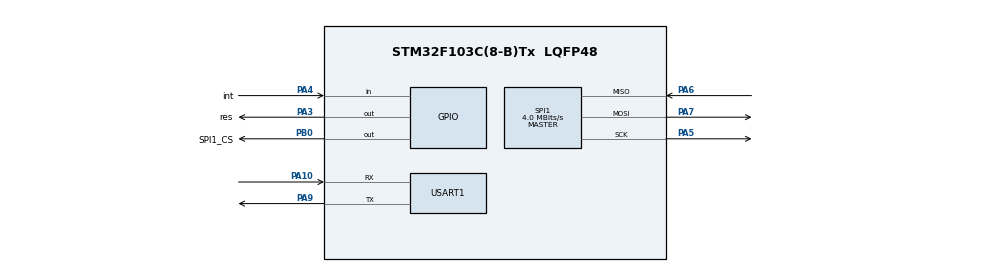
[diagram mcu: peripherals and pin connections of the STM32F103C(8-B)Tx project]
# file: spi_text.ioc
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Mcu.Family=STM32F1
Mcu.Name=STM32F103C(8-B)Tx
Mcu.Package=LQFP48
NVIC.PriorityGroup=NVIC_PRIORITYGROUP_4
PA10.Mode=Asynchronous
PA10.Signal=USART1_RX
PA13.Mode=Serial_Wire
PA13.Signal=SYS_JTMS-SWDIO
PA14.Mode=Serial_Wire
PA14.Signal=SYS_JTCK-SWCLK
PA3.GPIO_Label=res
PA3.Signal=GPIO_Output
PA4.GPIO_Label=int
PA4.GPIO_PuPd=GPIO_PULLUP
PA4.Signal=GPIO_Input
PA5.Mode=Full_Duplex_Master
PA5.Signal=SPI1_SCK
PA6.Mode=Full_Duplex_Master
PA6.Signal=SPI1_MISO
PA7.Mode=Full_Duplex_Master
PA7.Signal=SPI1_MOSI
PA9.Mode=Asynchronous
PA9.Signal=USART1_TX
PB0.GPIO_Label=SPI1_CS
PB0.Signal=GPIO_Output
ProjectManager.HeapSize=0x200
ProjectManager.StackSize=0x400
ProjectManager.TargetToolchain=MDK-ARM V5
RCC.APB1Freq_Value=8000000
RCC.APB2Freq_Value=8000000
SPI1.CalculateBaudRate=4.0 MBits/s
SPI1.Direction=SPI_DIRECTION_2LINES
SPI1.Mode=SPI_MODE_MASTER
SPI1.VirtualType=VM_MASTER
USART1.VirtualMode=VM_ASYNC
board=custom

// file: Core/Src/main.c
/* USER CODE BEGIN Header */
/**
  ******************************************************************************
  * @file           : main.c
  * @brief          : Main program body
  ******************************************************************************
  * @attention
  *
  * Copyright (c) 2026 STMicroelectronics.
  * All rights reserved.
  *
  * This software is licensed under terms that can be found in the LICENSE file
  * in the root directory of this software component.
  * If no LICENSE file comes with this software, it is provided AS-IS.
  *
  ******************************************************************************
  */
/* USER CODE END Header */
#include "main.h"

/* USER CODE BEGIN Includes */
#include <stdarg.h>
#include <stdio.h>

/* USER CODE END Includes */

/* USER CODE BEGIN PD */
#define MAX_REG_PINCTL       17u
#define MAX_REG_REVISION     18u
#define MAX_REG_USBIRQ       13u
#define MAX_REG_USBCTL       15u
#define MAX_REG_HIRQ         25u
#define MAX_REG_MODE         27u
#define MAX_CHIPRES          0x20u
#define MAX_OSCOKIRQ         0x01u
#define MAX_FRAMEIRQ         0x40u
#define MAX_MODE_HOST        0xC1u
#define MAX_MODE_SOF         0xC9u
#define MAX_PINCTL_FULL_DUP  0x1Au
#define MAX_SPI_TIMEOUT_MS   100u

/* USER CODE END PD */

SPI_HandleTypeDef hspi1;

UART_HandleTypeDef huart1;

void SystemClock_Config(void);
static void MX_GPIO_Init(void);
static void MX_SPI1_Init(void);
static void MX_USART1_UART_Init(void);
/* USER CODE BEGIN PFP */
static void uart_printf(const char *fmt, ...);
static HAL_StatusTypeDef max3421e_write_reg(uint8_t reg, uint8_t value);
static HAL_StatusTypeDef max3421e_read_reg(uint8_t reg, uint8_t *value, uint8_t *status);
static void max3421e_reset(void);
static void max3421e_clock_test(void);
static void max3421e_test(void);

/* USER CODE END PFP */

/* USER CODE BEGIN 0 */
static void uart_printf(const char *fmt, ...)
{
  char buffer[160];
  va_list args;
  int length;

  va_start(args, fmt);
  length = vsnprintf(buffer, sizeof(buffer), fmt, args);
  va_end(args);
  if (length <= 0) return;
  if (length >= (int)sizeof(buffer)) length = sizeof(buffer) - 1;
  HAL_UART_Transmit(&huart1, (uint8_t *)buffer, (uint16_t)length,
                    MAX_SPI_TIMEOUT_MS);
}

static void max_cs_low(void)
{
  HAL_GPIO_WritePin(SPI1_CS_GPIO_Port, SPI1_CS_Pin, GPIO_PIN_RESET);
}

static void max_cs_high(void)
{
  HAL_GPIO_WritePin(SPI1_CS_GPIO_Port, SPI1_CS_Pin, GPIO_PIN_SET);
}

static HAL_StatusTypeDef max3421e_write_reg(uint8_t reg, uint8_t value)
{
  uint8_t tx[2] = {(uint8_t)((reg << 3) | 0x02u), value};
  HAL_StatusTypeDef result;

  max_cs_low();
  result = HAL_SPI_Transmit(&hspi1, tx, 2, MAX_SPI_TIMEOUT_MS);
  max_cs_high();
  return result;
}

static HAL_StatusTypeDef max3421e_read_reg(uint8_t reg, uint8_t *value,
                                           uint8_t *status)
{
  uint8_t tx[2] = {(uint8_t)(reg << 3), 0x00u};
  uint8_t rx[2] = {0u, 0u};
  HAL_StatusTypeDef result;

  /* One continuous full-duplex transfer: command byte + dummy byte. */
  max_cs_low();
  result = HAL_SPI_TransmitReceive(&hspi1, tx, rx, 2, MAX_SPI_TIMEOUT_MS);
  max_cs_high();
  if (result == HAL_OK) {
    if (status != NULL) *status = rx[0];
    if (value != NULL) *value = rx[1];
  }
  return result;
}

static void max3421e_reset(void)
{
  max_cs_high();
  HAL_GPIO_WritePin(res_GPIO_Port, res_Pin, GPIO_PIN_RESET);
  HAL_Delay(2);
  HAL_GPIO_WritePin(res_GPIO_Port, res_Pin, GPIO_PIN_SET);
  HAL_Delay(2);
}

static void max3421e_clock_test(void)
{
  uint8_t value, irq;
  unsigned poll, frames = 0u, oscok = 0u;
  const char *result = "SPI_FAIL";

  /* The SPI port can respond even with its USB oscillator stopped. Test
   * internal-clock-dependent registers separately, using CHIPRES only. */
  if (max3421e_write_reg(MAX_REG_USBCTL, MAX_CHIPRES) != HAL_OK ||
      max3421e_read_reg(MAX_REG_USBCTL, &value, NULL) != HAL_OK) goto done;
  uart_printf("MAX3421E: USBCTL stop=0x%02X\r\n", value);
  result = "RESET_FAIL";
  if ((value & 0x30u) != MAX_CHIPRES) goto done;
  HAL_Delay(10);
  result = "SPI_FAIL";
  if (max3421e_write_reg(MAX_REG_USBCTL, 0u) != HAL_OK ||
      max3421e_read_reg(MAX_REG_USBCTL, &value, NULL) != HAL_OK) goto done;
  uart_printf("MAX3421E: USBCTL run=0x%02X\r\n", value);
  result = "RESET_FAIL";
  if (value & 0x30u) goto done;
  for (poll = 0u; poll < 1000u; ++poll) {
    result = "SPI_FAIL";
    if (max3421e_read_reg(MAX_REG_USBIRQ, &irq, NULL) != HAL_OK) goto done;
    if (irq & MAX_OSCOKIRQ) { oscok = 1u; break; }
    HAL_Delay(1);
  }
  uart_printf("MAX3421E: OSCOK(init)=%u USBIRQ=0x%02X wait=%u ms\r\n",
              oscok, irq, poll);

  /* Also test fresh frame events when OSCOK is missing. HOST entry clears
   * OSCOK, so preserve the initialization result instead of rereading it. */
  result = "SPI_FAIL";
  if (max3421e_write_reg(MAX_REG_MODE, MAX_MODE_HOST) != HAL_OK) goto done;
  HAL_Delay(2);
  if (max3421e_read_reg(MAX_REG_MODE, &value, NULL) != HAL_OK) goto done;
  uart_printf("MAX3421E: HOST write=0xC1 read=0x%02X\r\n", value);
  result = "HOST_FAIL";
  if (value != MAX_MODE_HOST) goto done;
  result = "SPI_FAIL";
  if (max3421e_write_reg(MAX_REG_MODE, MAX_MODE_SOF) != HAL_OK) goto done;
  HAL_Delay(2);
  if (max3421e_read_reg(MAX_REG_MODE, &value, NULL) != HAL_OK) goto done;
  uart_printf("MAX3421E: SOF write=0xC9 read=0x%02X\r\n", value);
  result = "SOF_FAIL";
  if (value != MAX_MODE_SOF) goto done;
  while (frames < 3u) {
    result = "SPI_FAIL";
    if (max3421e_write_reg(MAX_REG_HIRQ, MAX_FRAMEIRQ) != HAL_OK ||
        max3421e_read_reg(MAX_REG_HIRQ, &irq, NULL) != HAL_OK) goto done;
    result = "CLEAR_FAIL";
    if (irq & MAX_FRAMEIRQ) goto done;
    for (poll = 0u; poll < 1000u; ++poll) {
      result = "SPI_FAIL";
      if (max3421e_read_reg(MAX_REG_HIRQ, &irq, NULL) != HAL_OK) goto done;
      if (irq & MAX_FRAMEIRQ) break;
      HAL_Delay(1);
    }
    result = "NO_FRAME";
    if (poll == 1000u) goto done;
    ++frames;
  }
  result = oscok ? "PASS" : "FRAMES_WITHOUT_OSCOK";
done:
  /* Stop frame generation and clear its flag; the next run resets via CHIPRES. */
  {
    HAL_StatusTypeDef cleanup = max3421e_write_reg(MAX_REG_MODE, MAX_MODE_HOST);
    HAL_StatusTypeDef clear = max3421e_write_reg(MAX_REG_HIRQ, MAX_FRAMEIRQ);
    if (cleanup != HAL_OK || clear != HAL_OK) result = "SPI_FAIL";
  }
  uart_printf("MAX3421E: CLOCK test %s OSCOK(init)=%u FRAME events=%u/3\r\n",
              result, oscok, frames);
}

static void max3421e_test(void)
{
  uint8_t revision = 0u, pinctl = 0u, status = 0u;
  HAL_StatusTypeDef result;
  GPIO_PinState int_level;

  result = max3421e_write_reg(MAX_REG_PINCTL, MAX_PINCTL_FULL_DUP);
  if (result != HAL_OK) {
    uart_printf("MAX3421E: PINCTL write error=%d\r\n", (int)result);
    return;
  }

  result = max3421e_read_reg(MAX_REG_REVISION, &revision, &status);
  int_level = HAL_GPIO_ReadPin(int_GPIO_Port, int_Pin);
  uart_printf("MAX3421E: REV status=0x%02X value=0x%02X INT=%u\r\n",
              status, revision, (unsigned)int_level);
  if (result != HAL_OK) {
    uart_printf("MAX3421E: SPI read error=%d\r\n", (int)result);
    return;
  }

  result = max3421e_read_reg(MAX_REG_PINCTL, &pinctl, NULL);
  uart_printf("MAX3421E: PINCTL=0x%02X read=%s\r\n",
              pinctl, (result == HAL_OK) ? "OK" : "ERROR");

  if (result == HAL_OK &&
      (revision == 0x01u || revision == 0x12u || revision == 0x13u) &&
      pinctl == MAX_PINCTL_FULL_DUP) {
    uart_printf("MAX3421E: SPI PASS; checking USB clock next\r\n");
    max3421e_clock_test();
  } else {
    uart_printf("MAX3421E: FAIL expected REV=01/12/13 and PINCTL=1A\r\n");
  }
}

/* USER CODE END 0 */

int main(void)
{

  /* MCU Configuration--------------------------------------------------------*/

  /* Reset of all peripherals, Initializes the Flash interface and the Systick. */
  HAL_Init();

  /* Configure the system clock */
  SystemClock_Config();

  /* Initialize all configured peripherals */
  MX_GPIO_Init();
  MX_SPI1_Init();
  MX_USART1_UART_Init();
  /* USER CODE BEGIN 2 */
  uart_printf("\r\nMAX3421E STM32 clock-test-v2 start\r\n");
  uart_printf("SPI1: PA5=SCLK PA6=MISO PA7=MOSI PB0=CS PA3=RES PA4=INT\r\n");
  max3421e_reset();
  max3421e_test();

  /* USER CODE END 2 */

  /* Infinite loop */
  /* USER CODE BEGIN WHILE */
  while (1)
  {
    HAL_Delay(1000);
    max3421e_test();
    /* USER CODE END WHILE */

  }
}

void SystemClock_Config(void)
{
  RCC_OscInitTypeDef RCC_OscInitStruct = {0};
  RCC_ClkInitTypeDef RCC_ClkInitStruct = {0};

  /** Initializes the RCC Oscillators according to the specified parameters
  * in the RCC_OscInitTypeDef structure.
  */
  RCC_OscInitStruct.OscillatorType = RCC_OSCILLATORTYPE_HSI;
  RCC_OscInitStruct.HSIState = RCC_HSI_ON;
  RCC_OscInitStruct.HSICalibrationValue = RCC_HSICALIBRATION_DEFAULT;
  RCC_OscInitStruct.PLL.PLLState = RCC_PLL_NONE;
  if (HAL_RCC_OscConfig(&RCC_OscInitStruct) != HAL_OK)
  {
    Error_Handler();
  }

  /** Initializes the CPU, AHB and APB buses clocks
  */
  RCC_ClkInitStruct.ClockType = RCC_CLOCKTYPE_HCLK|RCC_CLOCKTYPE_SYSCLK
                              |RCC_CLOCKTYPE_PCLK1|RCC_CLOCKTYPE_PCLK2;
  RCC_ClkInitStruct.SYSCLKSource = RCC_SYSCLKSOURCE_HSI;
  RCC_ClkInitStruct.AHBCLKDivider = RCC_SYSCLK_DIV1;
  RCC_ClkInitStruct.APB1CLKDivider = RCC_HCLK_DIV1;
  RCC_ClkInitStruct.APB2CLKDivider = RCC_HCLK_DIV1;

  if (HAL_RCC_ClockConfig(&RCC_ClkInitStruct, FLASH_LATENCY_0) != HAL_OK)
  {
    Error_Handler();
  }
}

static void MX_SPI1_Init(void)
{

  /* SPI1 parameter configuration*/
  hspi1.Instance = SPI1;
  hspi1.Init.Mode = SPI_MODE_MASTER;
  hspi1.Init.Direction = SPI_DIRECTION_2LINES;
  hspi1.Init.DataSize = SPI_DATASIZE_8BIT;
  hspi1.Init.CLKPolarity = SPI_POLARITY_LOW;
  hspi1.Init.CLKPhase = SPI_PHASE_1EDGE;
  hspi1.Init.NSS = SPI_NSS_SOFT;
  hspi1.Init.BaudRatePrescaler = SPI_BAUDRATEPRESCALER_2;
  hspi1.Init.FirstBit = SPI_FIRSTBIT_MSB;
  hspi1.Init.TIMode = SPI_TIMODE_DISABLE;
  hspi1.Init.CRCCalculation = SPI_CRCCALCULATION_DISABLE;
  hspi1.Init.CRCPolynomial = 10;
  if (HAL_SPI_Init(&hspi1) != HAL_OK)
  {
    Error_Handler();
  }

}

static void MX_USART1_UART_Init(void)
{

  huart1.Instance = USART1;
  huart1.Init.BaudRate = 115200;
  huart1.Init.WordLength = UART_WORDLENGTH_8B;
  huart1.Init.StopBits = UART_STOPBITS_1;
  huart1.Init.Parity = UART_PARITY_NONE;
  huart1.Init.Mode = UART_MODE_TX_RX;
  huart1.Init.HwFlowCtl = UART_HWCONTROL_NONE;
  huart1.Init.OverSampling = UART_OVERSAMPLING_16;
  if (HAL_UART_Init(&huart1) != HAL_OK)
  {
    Error_Handler();
  }

}

static void MX_GPIO_Init(void)
{
  GPIO_InitTypeDef GPIO_InitStruct = {0};

  /* GPIO Ports Clock Enable */
  __HAL_RCC_GPIOA_CLK_ENABLE();
  __HAL_RCC_GPIOB_CLK_ENABLE();

  /*Configure GPIO pin Output Level */
  HAL_GPIO_WritePin(res_GPIO_Port, res_Pin, GPIO_PIN_RESET);

  /*Configure GPIO pin Output Level */
  HAL_GPIO_WritePin(SPI1_CS_GPIO_Port, SPI1_CS_Pin, GPIO_PIN_SET);

  /*Configure GPIO pin : res_Pin */
  GPIO_InitStruct.Pin = res_Pin;
  GPIO_InitStruct.Mode = GPIO_MODE_OUTPUT_PP;
  GPIO_InitStruct.Pull = GPIO_NOPULL;
  GPIO_InitStruct.Speed = GPIO_SPEED_FREQ_LOW;
  HAL_GPIO_Init(res_GPIO_Port, &GPIO_InitStruct);

  /* MAX3421E drives INT; STM32 must sample it as an input. */
  GPIO_InitStruct.Pin = int_Pin;
  GPIO_InitStruct.Mode = GPIO_MODE_INPUT;
  GPIO_InitStruct.Pull = GPIO_PULLUP;
  HAL_GPIO_Init(int_GPIO_Port, &GPIO_InitStruct);

  /*Configure GPIO pin : SPI1_CS_Pin */
  GPIO_InitStruct.Pin = SPI1_CS_Pin;
  GPIO_InitStruct.Mode = GPIO_MODE_OUTPUT_PP;
  GPIO_InitStruct.Pull = GPIO_NOPULL;
  GPIO_InitStruct.Speed = GPIO_SPEED_FREQ_LOW;
  HAL_GPIO_Init(SPI1_CS_GPIO_Port, &GPIO_InitStruct);

}

void Error_Handler(void)
{
  __disable_irq();
  while (1)
  {
  }
}
